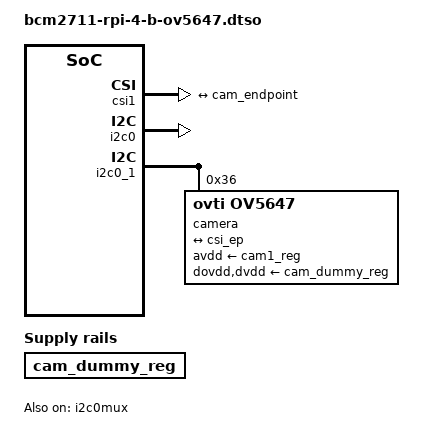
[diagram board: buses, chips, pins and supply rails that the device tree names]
// SPDX-License-Identifier: GPL-2.0-only
// Definitions for OV5647 camera module on VC I2C bus

/dts-v1/;
/plugin/;

&{/} {
	cam1_clk: cam1_clk {
		compatible = "fixed-clock";
		#clock-cells = <0>;
		clock-frequency = <25000000>;
	};

	cam_dummy_reg: cam_dummy_reg {
		compatible = "regulator-fixed";
		regulator-name = "cam-dummy-reg";
		status = "okay";
	};
};

&cam1_reg {
	startup-delay-us = <20000>;
};

&csi1 {
	status = "okay";

	port {
		csi_ep: endpoint {
			remote-endpoint = <&cam_endpoint>;
			clock-lanes = <0>;
			data-lanes = <1 2>;
			clock-noncontinuous;
		};
	};
};

&i2c0 {
	status = "okay";
};

&i2c0_1 {
	#address-cells = <1>;
	#size-cells = <0>;
	status = "okay";

	camera@36 {
		compatible = "ovti,ov5647";
		reg = <0x36>;

		clocks = <&cam1_clk>;
		clock-names = "xclk";

		avdd-supply = <&cam1_reg>;
		dovdd-supply = <&cam_dummy_reg>;
		dvdd-supply = <&cam_dummy_reg>;

		rotation = <0>;
		orientation = <2>;

		port {
			cam_endpoint: endpoint {
				remote-endpoint = <&csi_ep>;
				clock-lanes = <0>;
				data-lanes = <1 2>;
				clock-noncontinuous;
				link-frequencies = /bits/ 64 <297000000>;
			};
		};
	};
};

&i2c0mux {
	status = "okay";
};
